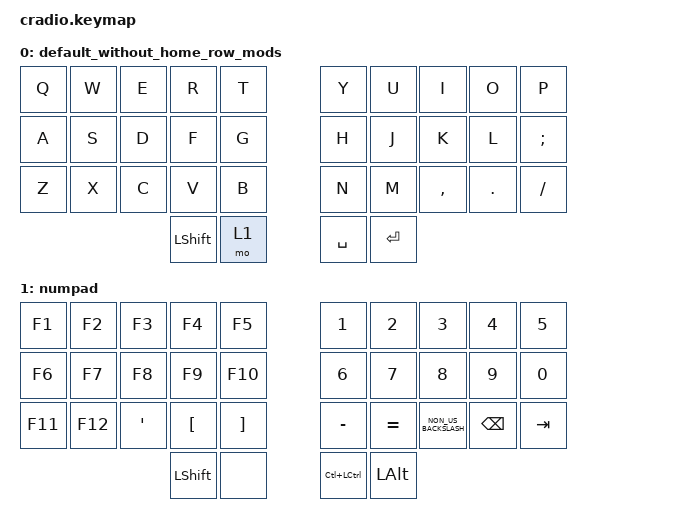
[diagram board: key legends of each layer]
#include <behaviors/num_word.dtsi>
#include <behaviors.dtsi>
#include <dt-bindings/zmk/bt.h>
#include <dt-bindings/zmk/keys.h>
#include "mouse.dtsi"

#define DEF 0
#define HRM 1
#define NUM 2
#define NAV 3
#define SYM 4
#define FUN 5
#define MOU 6
#define AOE 7
#define AGS 8
#define ABS 9
#define HYPER LG(LA(LS(LCTRL)))

&num_word {
    continue-list = <LPAR RPAR LBKT RBKT LBRC RBRC TAB DOT COMMA SEMI COLON SLASH PLUS MINUS ASTRK EQUAL BACKSPACE DEL>;
    ignore-modifiers;
};

/ {
    combos {
        compatible = "zmk,combos";

        left_hand_esc_combo {
            bindings = <&kp ESCAPE>;
            key-positions = <0 10>;
            require-prior-idle-ms = <200>;
        };

        left_hand_tab {
            bindings = <&kp TAB>;
            key-positions = <1 11>;
            require-prior-idle-ms = <200>;
        };

        left_hand_f18_combo {
            bindings = <&kp F18>;// F18 is handy for using as trigger in Keyboard Maestro for App-Specific macros
            key-positions = <2 12>;
            require-prior-idle-ms = <200>;
        };

        left_hand_enter_combo {
            bindings = <&kp ENTER>;
            key-positions = <3 13>;
            require-prior-idle-ms = <200>;
        };

        left_hand_backspace {
            bindings = <&kp BSPC>;
            key-positions = <4 14>;
            require-prior-idle-ms = <200>;
        };

        left_hand_media_mute_combo {
            key-positions = <14 24>;
            bindings = <&kp C_MUTE>;
        };

        toggle_sticky_sym_layer {
            bindings = <&sl 0>;
            key-positions = <24 30>;
            require-prior-idle-ms = <200>;
        };

        numword_punctuation_colon {
            key-positions = <11 21>;
            bindings = <&kp COLON>;
            require-prior-idle-ms = <200>;
            layers = <1>;
        };

        numword_punctuation_comma {
            key-positions = <12 22>;
            bindings = <&kp COMMA>;
            require-prior-idle-ms = <200>;
            layers = <1>;
        };

        numword_punctuation_dot {
            key-positions = <13 23>;
            bindings = <&kp DOT>;
            require-prior-idle-ms = <200>;
            layers = <1>;
        };

        sys_bootloader {
            key-positions = <20 21>;
            bindings = <&bootloader>;
        };

        sys_connect_to_bt0 {
            key-positions = <3 4>;
            bindings = <&bt BT_SEL 0>;
        };

        sys_connect_to_bt1 {
            key-positions = <13 14>;
            bindings = <&bt BT_SEL 1>;
        };

        sys_connect_to_bt2 {
            key-positions = <23 24>;
            bindings = <&bt BT_SEL 2>;
        };

        sys_clear_current_bluetooth_profile {
            key-positions = <28 29>;
            bindings = <&bt BT_CLR>;
        };
    };

    macros {
        lc: mo_layer_switch_with_an_embeded_cancel_tap_for_clearing_any_queued_sticky_mods_on_press {
            compatible = "zmk,behavior-macro-one-param";
            label = "mo_layer/cancel";
            wait-ms = <0>;
            tap-ms = <0>;
            #binding-cells = <1>;
            bindings =
                <&macro_tap>,
                <&kp K_CANCEL &macro_param_1to1>,
                <&macro_press>,
                <&mo MACRO_PLACEHOLDER>,
                <&macro_pause_for_release>,
                <&macro_param_1to1>,
                <&macro_release>,
                <&mo MACRO_PLACEHOLDER>;
        };

        m_hr: from_mouse_layer_to_def_with_homerow_app_activation {
            compatible = "zmk,behavior-macro";
            label = "from mouse to homerow";
            wait-ms = <0>;
            tap-ms = <0>;
            #binding-cells = <0>;
            bindings = <&macro_tap>, <&to 0 &kp LG(LS(SPACE))>;
        };
    };

    conditional_layers { compatible = "zmk,conditional-layers"; };

    keymap {
        compatible = "zmk,keymap";

        default_without_home_row_mods {
            bindings = <
  &kp Q  &kp W  &kp E  &kp R           &kp T    &kp Y      &kp U      &kp I      &kp O       &kp P
  &kp A  &kp S  &kp D  &kp F           &kp G    &kp H      &kp J      &kp K      &kp L       &kp SEMICOLON
  &kp Z  &kp X  &kp C  &kp V           &kp B    &kp N      &kp M      &kp COMMA  &kp PERIOD  &kp SLASH
                       &kp LEFT_SHIFT  &mo 1    &kp SPACE  &kp ENTER
            >;
        };

        numpad {
            bindings = <
  &kp F1   &kp F2   &kp F3   &kp F4            &kp F5               &kp NUMBER_1   &kp NUMBER_2  &kp NUMBER_3          &kp NUMBER_4   &kp N5
  &kp F6   &kp F7   &kp F8   &kp F9            &kp F10              &kp NUMBER_6   &kp N7        &kp N8                &kp N9         &kp N0
  &kp F11  &kp F12  &kp SQT  &kp LEFT_BRACKET  &kp RIGHT_BRACKET    &kp MINUS      &kp EQUAL     &kp NON_US_BACKSLASH  &kp BACKSPACE  &kp TAB
                             &kp LEFT_SHIFT    &none                &kp LC(LCTRL)  &kp LEFT_ALT
            >;
        };
    };
};
